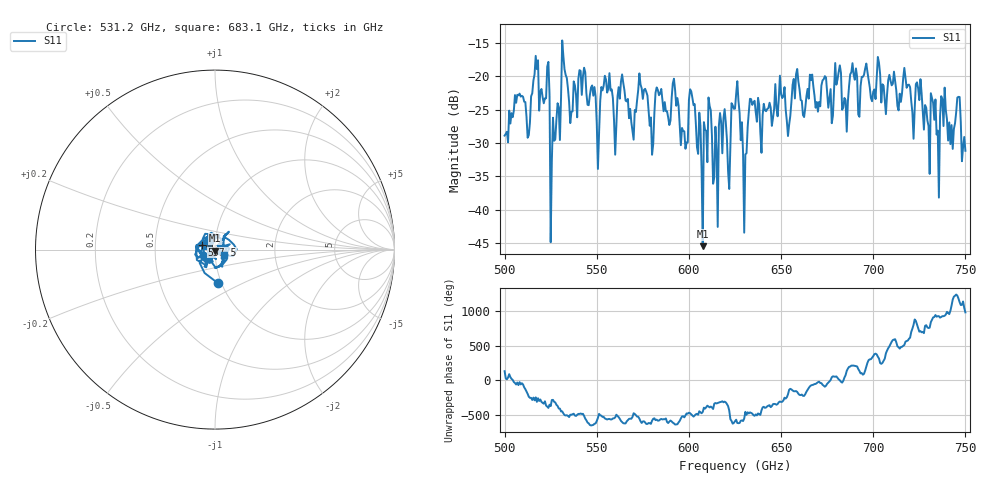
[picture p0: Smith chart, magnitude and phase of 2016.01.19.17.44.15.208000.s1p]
!Created with skrf (http://scikit-rf.org).
# GHz S RI R 50.0
!freq ReS11 ImS11
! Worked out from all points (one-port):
!   401 points, 500 GHz to 750 GHz, reference 50 ohm
!   lowest |S11| = -45.5 dB at 607.5 GHz (marker M1), VSWR 1.01, Z = 50 - j0.531 ohm
!   |S11| at or under -10 dB: start of sweep to end of sweep
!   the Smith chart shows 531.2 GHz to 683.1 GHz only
!   S11 on the Smith chart (normalised r, x): 531.2 GHz: 0.96, -0.37; 557.5 GHz: 0.86, +0.05; 683.1 GHz: 1.10, -0.07
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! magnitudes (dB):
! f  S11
! 500 GHz  -28.9
! 513.1 GHz  -28.8
! 516.9 GHz  -16.9
! 523.1 GHz  -18.5
! 526.2 GHz  -26.2
! 531.2 GHz  -14.6
! 550.6 GHz  -33.9
! 557.5 GHz  -22.1
! 562.5 GHz  -23.3
! 580 GHz  -31.8
! 593.8 GHz  -23.2
! 598.1 GHz  -30.8
! 601.9 GHz  -23.2
! 607.5 GHz  -45.5
! 610.6 GHz  -23.1
! 614.4 GHz  -27.5
! 618.1 GHz  -31.5
! 621.2 GHz  -34.2
! 625 GHz  -24.8
! 630.6 GHz  -31.7
! 634.4 GHz  -24.3
! 656.2 GHz  -21.3
! 683.1 GHz  -25.0
! 687.5 GHz  -19.7
! 718.8 GHz  -21.3
! 734.4 GHz  -28.7
! 746.2 GHz  -23.1
! 750 GHz  -31.2
